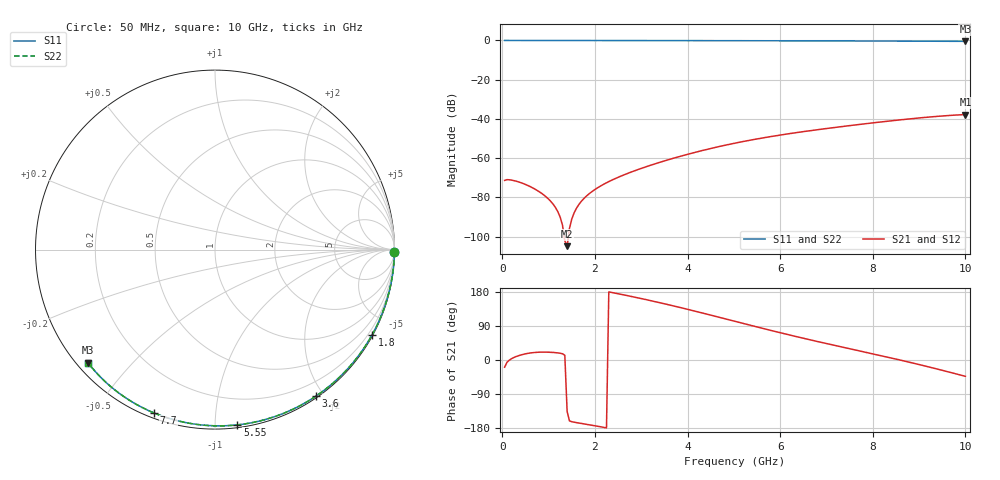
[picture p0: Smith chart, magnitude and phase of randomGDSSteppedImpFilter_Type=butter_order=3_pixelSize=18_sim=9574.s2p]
! freq	dB(S11)	phase(S11)	dB(S12)	phase(S12)
!  dB(S21)	phase(S21)	dB(S22)	phase(S22)
!S-par simulation data
#  GHz  S  DB  R 50
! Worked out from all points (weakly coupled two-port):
!   200 points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, 50 MHz to 10 GHz, reference 50 ohm
!   highest |S21| = -37.78 dB at 10 GHz (marker M1); lowest = -104.9 dB at 1.4 GHz (marker M2)
!   lowest |S11| = -0.5 dB at 10 GHz (marker M3), VSWR 37.20, Z = 1.54 - j19 ohm
!   |S11| at or under -10 dB: nowhere
!   |S22| runs from -0.5 to 0.0 dB; largest |S21 - S12| = 0
!   S11 on the Smith chart (normalised r, x): 50 MHz: open; 1.8 GHz: 0.03, -3.95; 3.6 GHz: 0.02, -1.90; 5.55 GHz: 0.02, -1.14; 7.7 GHz: 0.02, -0.69; 10 GHz: 0.03, -0.38
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0.05  -0.00 -0.8  -71.37 -19.0  -71.37 -19.0  -0.00 -0.8
0.1  -0.00 -1.6  -71.00 -6.4  -71.00 -6.4  -0.00 -1.6
0.2  -0.00 -3.2  -71.23 3.5  -71.23 3.5  -0.00 -3.2
0.45  -0.01 -7.2  -72.96 14.9  -72.96 14.9  -0.01 -7.2
0.7  -0.01 -11.2  -75.75 19.9  -75.75 19.9  -0.01 -11.2
0.95  -0.02 -15.1  -79.85 20.8  -79.85 20.8  -0.02 -15.1
1.4  -0.03 -22.2  -104.93 -135.7  -104.93 -135.7  -0.03 -22.2
1.75  -0.04 -27.6  -80.92 -168.3  -80.92 -168.3  -0.04 -27.6
1.8  -0.04 -28.4  -79.74 -169.3  -79.74 -169.3  -0.04 -28.4
2.05  -0.04 -32.2  -75.26 -174.6  -75.26 -174.6  -0.04 -32.2
2.35  -0.05 -36.8  -71.41 178.5  -71.41 178.5  -0.05 -36.8
2.85  -0.06 -44.4  -66.53 166.1  -66.53 166.1  -0.06 -44.4
3.4  -0.07 -52.5  -62.16 151.2  -62.16 151.2  -0.07 -52.5
3.6  -0.07 -55.5  -60.73 145.5  -60.73 145.5  -0.07 -55.5
4.3  -0.09 -65.5  -56.25 124.7  -56.25 124.7  -0.09 -65.5
5.05  -0.12 -76.0  -52.26 101.3  -52.26 101.3  -0.12 -76.0
5.55  -0.14 -82.7  -50.02 85.7  -50.02 85.7  -0.14 -82.7
6.7  -0.19 -97.8  -45.85 51.7  -45.85 51.7  -0.19 -97.8
7.7  -0.25 -110.4  -42.87 24.4  -42.87 24.4  -0.25 -110.4
8.35  -0.30 -118.4  -41.11 6.6  -41.11 6.6  -0.30 -118.4
9.25  -0.38 -129.4  -38.99 -19.5  -38.99 -19.5  -0.38 -129.4
10  -0.47 -138.4  -37.78 -43.1  -37.78 -43.1  -0.47 -138.4
